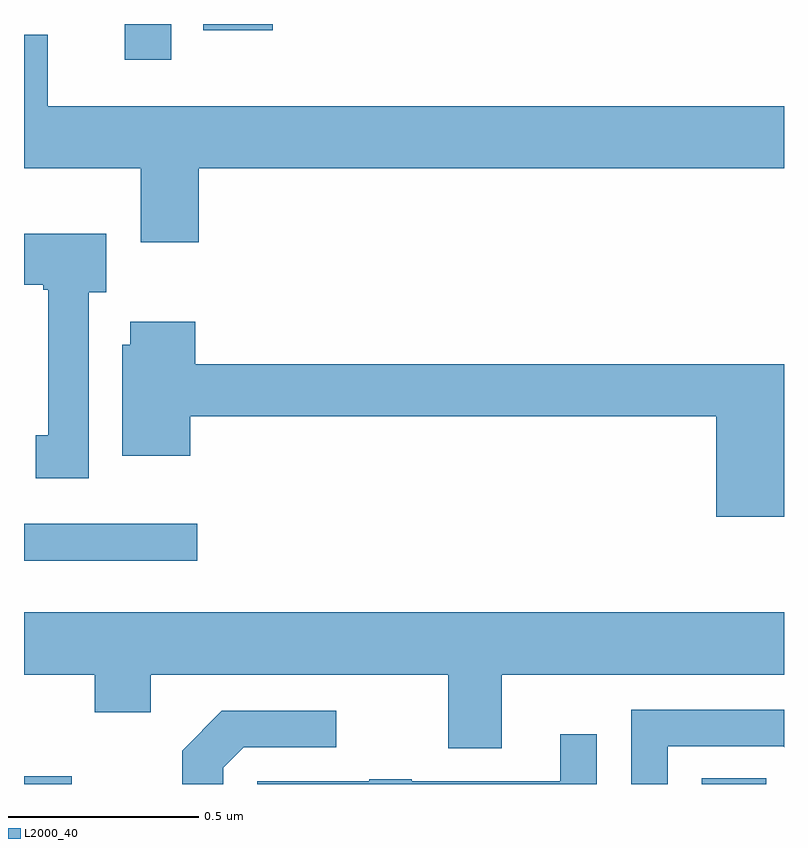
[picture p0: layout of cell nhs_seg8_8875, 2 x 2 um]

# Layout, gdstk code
import gdstk
lib = gdstk.Library(unit=1e-6, precision=1e-09)
def R(c, l, rs):  # rectangles x0, y0, x1, y1
    for r in rs: c.add(gdstk.rectangle(r[:2], r[2:], *l))
def P(c, l, *ps):  # polygons
    for p in ps: c.add(gdstk.Polygon(p, *l))
L2000_40 = (2000, 40)

nhs_seg8_8875 = lib.new_cell('nhs_seg8_8875')
R(nhs_seg8_8875, L2000_40, [(229,1094.9,229.126,1094.92), (230.784,1094.9,230.953,1094.915), (229,1095.488,229.456,1095.585), (229.265,1096.806,229.387,1096.9), (229.472,1096.884,229.655,1096.9)])
P(nhs_seg8_8875, L2000_40, [(229.46,1096.52),(231,1096.52),(231,1096.684),(229.063,1096.684),(229.063,1096.872),(229,1096.872),(229,1096.52),(229.307,1096.52),(229.307,1096.326),(229.46,1096.326)],
  [(229.171,1096.194),(229.216,1096.194),(229.216,1096.348),(229,1096.348),(229,1096.214),(229.051,1096.214),(229.051,1096.201),(229.064,1096.201),(229.064,1095.818),(229.031,1095.818),(229.031,1095.705),(229.171,1095.705)],
  [(231,1096.004),(229.451,1096.004),(229.451,1096.117),(229.28,1096.117),(229.28,1096.056),(229.259,1096.056),(229.259,1095.764),(229.438,1095.764),(229.438,1095.868),(230.822,1095.868),(230.822,1095.603),(231,1095.603)],
  [(230.257,1095.188),(231,1095.188),(231,1095.352),(229,1095.352),(229,1095.188),(229.186,1095.188),(229.186,1095.089),(229.333,1095.089),(229.333,1095.188),(230.117,1095.188),(230.117,1094.994),(230.257,1094.994)],
  [(230.694,1095),(230.997,1095),(231,1094.997),(231,1095.096),(230.598,1095.096),(230.598,1094.9),(230.694,1094.9)],
  [(229.524,1094.943),(229.578,1094.997),(229.822,1094.997),(229.822,1095.093),(229.521,1095.093),(229.416,1094.987),(229.416,1094.9),(229.524,1094.9)],
  [(230.507,1095.031),(230.411,1095.031),(230.411,1094.907),(230.021,1094.907),(230.021,1094.912),(229.909,1094.912),(229.909,1094.907),(229.614,1094.907),(229.614,1094.9),(230.507,1094.9)])

lib.write_gds('nhs_seg8_8875.gds')
